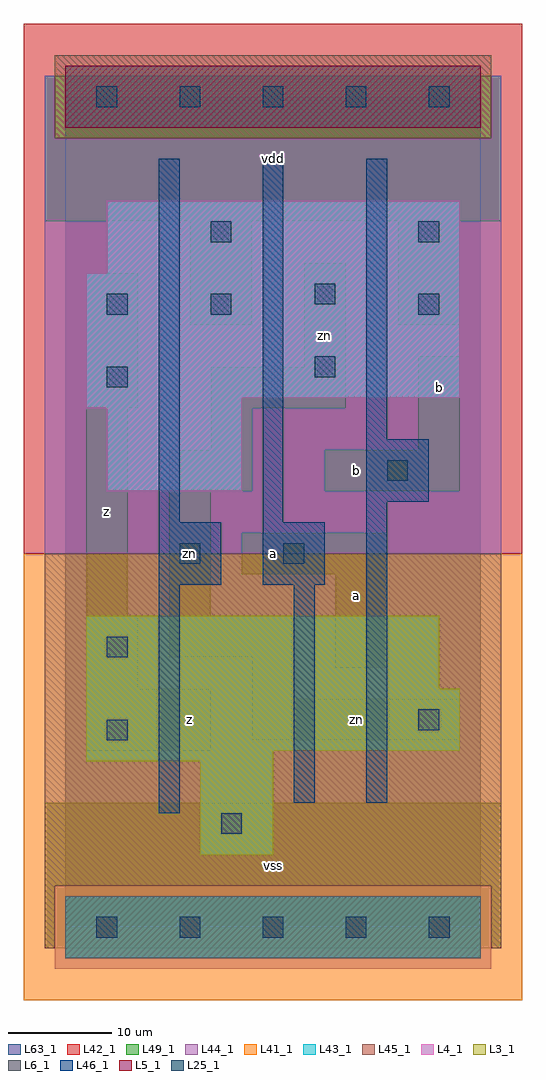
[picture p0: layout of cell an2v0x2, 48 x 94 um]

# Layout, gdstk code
import gdstk
lib = gdstk.Library(unit=1e-6, precision=1e-09)
def R(c, l, rs):  # rectangles x0, y0, x1, y1
    for r in rs: c.add(gdstk.rectangle(r[:2], r[2:], *l))
def A(c, l, x, y, w, h, nx, ny, dx, dy):  # array of equal rectangles
    R(c, l, [(x+i*dx, y+j*dy, x+i*dx+w, y+j*dy+h) for i in range(nx) for j in range(ny)])
L3_1 = (3, 1)
L4_1 = (4, 1)
L5_1 = (5, 1)
L6_1 = (6, 1)
L25_1 = (25, 1)
L41_1 = (41, 1)
L42_1 = (42, 1)
L43_1 = (43, 1)
L44_1 = (44, 1)
L45_1 = (45, 1)
L46_1 = (46, 1)
L49_1 = (49, 1)
L63_1 = (63, 1)

an2v0x2 = lib.new_cell('an2v0x2')
R(an2v0x2, L3_1, [(13,7,20,16), (2,16,20,17), (2,17,38,23), (2,23,36,30)])
R(an2v0x2, L4_1, [(4,42,17,50), (2,50,17,51), (2,51,38,63), (4,63,38,70)])
R(an2v0x2, L5_1, [(0,77,40,83)])
R(an2v0x2, L6_1, [(0,-3,40,3), (0,-3,40,3)])
A(an2v0x2, L25_1, 3, -1, 2, 2, 5, 2, 8, 80)
R(an2v0x2, L25_1, [(15,9,17,11), (4,18,6,20), (34,19,36,21), (4,26,6,28), (11,35,13,37), (21,35,23,37), (31,43,33,45), (4,52,6,54), (24,53,26,55), (4,59,6,61), (14,59,16,61), (34,59,36,61), (24,60,26,62), (14,66,16,68), (34,66,36,68)])
R(an2v0x2, L41_1, [(-4,-7,44,36)])
R(an2v0x2, L42_1, [(-4,36,44,87)])
R(an2v0x2, L43_1, [(0,-3,40,3), (13,7,20,16), (2,16,20,17), (2,17,38,23), (2,23,36,30), (4,42,17,50), (2,50,17,51), (2,51,38,63), (4,63,38,70), (0,77,40,83)])
R(an2v0x2, L44_1, [(-1,-4,41,4), (-2,36,42,76), (-2,76,-1,82), (41,76,42,82)])
R(an2v0x2, L45_1, [(-2,-2,-1,4), (41,-2,42,4), (-2,4,42,36), (-1,76,41,84)])
R(an2v0x2, L46_1, [(9,11,11,33), (22,12,24,33), (29,12,31,41), (9,33,15,39), (19,33,25,39), (9,39,11,74), (19,39,21,74), (29,41,35,47), (29,47,31,74)])
R(an2v0x2, L49_1, [(-2,-2,42,12), (2,17,14,23), (18,18,38,22), (18,22,22,26), (2,23,7,30), (26,25,31,34), (10,26,22,30), (2,30,6,50), (10,30,14,42), (17,34,31,38), (10,42,18,46), (25,42,38,46), (14,46,18,50), (34,46,38,55), (2,50,7,63), (14,50,27,54), (23,54,27,64), (12,58,18,68), (32,58,38,68), (-2,68,42,82)])
R(an2v0x2, L63_1, [(0,0,40,80)])
an2v0x2.add(gdstk.Label('zn', (12,36), layer=49, texttype=1))
an2v0x2.add(gdstk.Label('z', (4,40), layer=49, texttype=1))
an2v0x2.add(gdstk.Label('z', (12,20), layer=49, texttype=1))
an2v0x2.add(gdstk.Label('zn', (12,36), layer=49, texttype=1))
an2v0x2.add(gdstk.Label('vss', (20,6), layer=49, texttype=1))
an2v0x2.add(gdstk.Label('a', (20,36), layer=49, texttype=1))
an2v0x2.add(gdstk.Label('a', (28,32), layer=49, texttype=1))
an2v0x2.add(gdstk.Label('b', (28,44), layer=49, texttype=1))
an2v0x2.add(gdstk.Label('zn', (25,57), layer=49, texttype=1))
an2v0x2.add(gdstk.Label('vdd', (20,74), layer=49, texttype=1))
an2v0x2.add(gdstk.Label('zn', (28,20), layer=49, texttype=1))
an2v0x2.add(gdstk.Label('b', (36,52), layer=49, texttype=1))

lib.write_gds('an2v0x2.gds')
